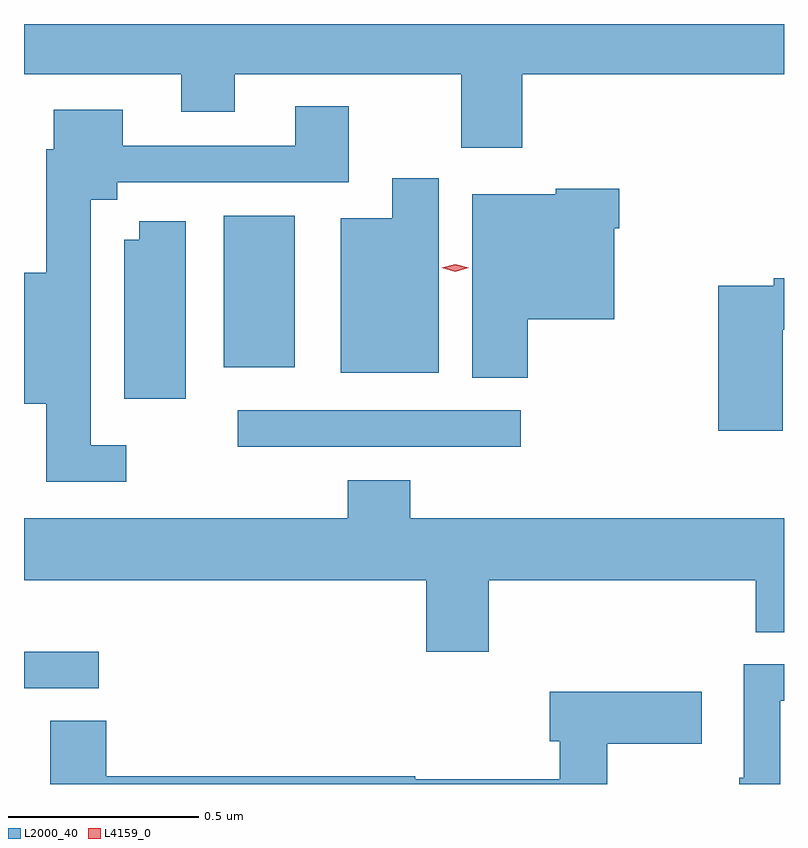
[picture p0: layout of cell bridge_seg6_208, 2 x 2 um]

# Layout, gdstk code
import gdstk
lib = gdstk.Library(unit=1e-6, precision=1e-09)
def R(c, l, rs):  # rectangles x0, y0, x1, y1
    for r in rs: c.add(gdstk.rectangle(r[:2], r[2:], *l))
def P(c, l, *ps):  # polygons
    for p in ps: c.add(gdstk.Polygon(p, *l))
L2000_40 = (2000, 40)
L4159_0 = (4159, 0)

bridge_seg6_208 = lib.new_cell('bridge_seg6_208')
R(bridge_seg6_208, L2000_40, [(139.973,965.7,140.17,965.796), (140.535,966.336,141.28,966.432), (140.498,966.545,140.686,966.943)])
P(bridge_seg6_208, L2000_40, [(141.284,967.316),(141.973,967.316),(141.973,967.448),(139.973,967.448),(139.973,967.316),(140.387,967.316),(140.387,967.217),(140.527,967.217),(140.527,967.316),(141.124,967.316),(141.124,967.122),(141.284,967.122)],
  [(140.242,966.339),(140.149,966.339),(140.149,966.689),(140.148,966.689),(140.148,966.986),(140.218,966.986),(140.218,967.032),(140.827,967.032),(140.827,967.231),(140.687,967.231),(140.687,967.128),(140.233,967.128),(140.233,967.222),(140.051,967.222),(140.051,967.118),(140.032,967.118),(140.032,966.793),(139.973,966.793),(139.973,966.449),(140.032,966.449),(140.032,966.243),(140.242,966.243)],
  [(141.064,967.042),(140.942,967.042),(140.942,966.937),(140.807,966.937),(140.807,966.53),(141.064,966.53)],
  [(141.299,966.671),(141.526,966.671),(141.526,966.911),(141.539,966.911),(141.539,967.015),(141.372,967.015),(141.372,967),(141.152,967),(141.152,966.517),(141.299,966.517)],
  [(140.398,966.929),(140.276,966.929),(140.276,966.88),(140.237,966.88),(140.237,966.462),(140.398,966.462)],
  [(141.97,966.643),(141.973,966.643),(141.973,966.779),(141.946,966.779),(141.946,966.759),(141.8,966.759),(141.8,966.378),(141.97,966.378)],
  [(141.196,965.984),(141.899,965.984),(141.899,965.848),(141.973,965.848),(141.973,966.148),(140.99,966.148),(140.99,966.247),(140.825,966.247),(140.825,966.148),(139.973,966.148),(139.973,965.984),(141.032,965.984),(141.032,965.796),(141.196,965.796)],
  [(141.963,965.667),(141.973,965.667),(141.973,965.763),(141.867,965.763),(141.867,965.465),(141.855,965.465),(141.855,965.448),(141.963,965.448)],
  [(141.508,965.554),(141.757,965.554),(141.757,965.691),(141.356,965.691),(141.356,965.561),(141.383,965.561),(141.383,965.461),(141.002,965.461),(141.002,965.468),(140.189,965.468),(140.189,965.615),(140.042,965.615),(140.042,965.448),(141.508,965.448)])
P(bridge_seg6_208, L4159_0, [(141.108,966.796),(141.072,966.806),(141.072,966.806),(141.072,966.806),(141.108,966.816),(141.144,966.807),(141.144,966.807),(141.144,966.806)])

lib.write_gds('bridge_seg6_208.gds')
